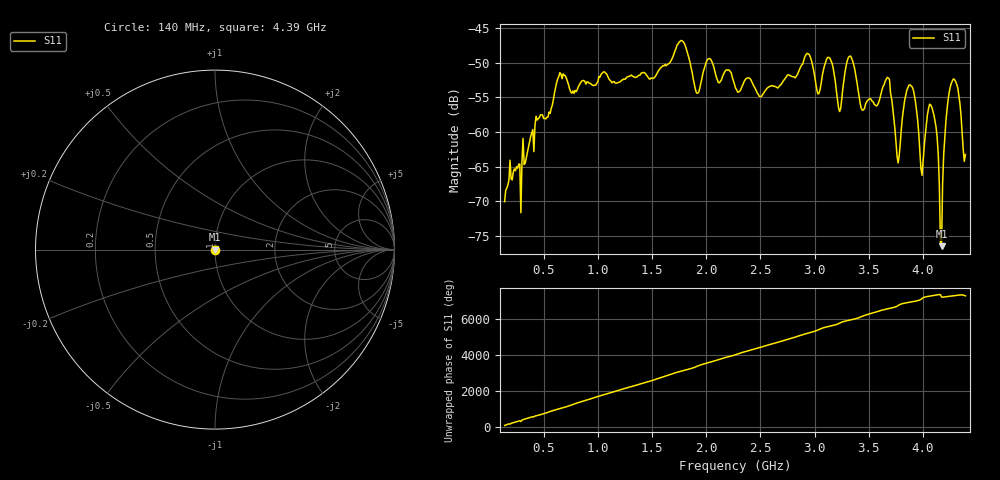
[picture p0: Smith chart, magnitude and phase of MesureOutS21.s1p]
! 140 4400 10
# MHz S MA R 50.0
!freq ReS11 ImS11
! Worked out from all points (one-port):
!   426 points, 140 MHz to 4.39 GHz, reference 50 ohm
!   lowest |S11| = -76.5 dB at 4.17 GHz (marker M1), VSWR 1.00, Z = 50 + j0.0029 ohm
!   |S11| at or under -10 dB: start of sweep to end of sweep
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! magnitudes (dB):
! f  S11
! 140 MHz  -70.0
! 680 MHz  -51.6
! 770 MHz  -54.1
! 1.21 GHz  -52.7
! 1.52 GHz  -52.1
! 1.74 GHz  -47.3
! 1.92 GHz  -54.4
! 2.03 GHz  -49.4
! 2.27 GHz  -53.6
! 2.8 GHz  -52.0
! 2.94 GHz  -48.7
! 3.04 GHz  -54.4
! 3.13 GHz  -49.2
! 3.23 GHz  -57.0
! 3.33 GHz  -49.0
! 3.44 GHz  -56.8
! 3.67 GHz  -52.1
! 3.77 GHz  -64.5
! 3.86 GHz  -53.6
! 3.92 GHz  -54.7
! 3.99 GHz  -66.2
! 4.05 GHz  -56.6
! 4.09 GHz  -56.9
! 4.17 GHz  -76.5
! 4.22 GHz  -56.8
! 4.27 GHz  -52.6
! 4.32 GHz  -53.6
! 4.39 GHz  -63.2
